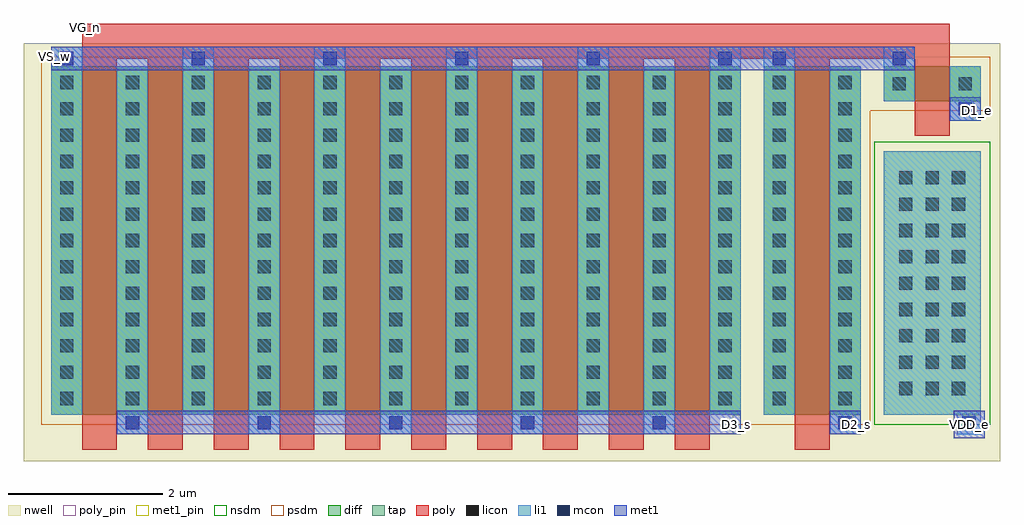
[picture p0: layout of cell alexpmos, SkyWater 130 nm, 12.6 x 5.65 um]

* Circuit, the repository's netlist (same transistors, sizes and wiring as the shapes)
* NGSPICE file created from alexpmos.ext - technology: sky130A

X0 D2 VG VS VDD sky130_fd_pr__pfet_01v8 ad=1.8 pd=9.8 as=1.8 ps=9.8 w=4.5 l=0.45
X1 VS VG D3 VDD sky130_fd_pr__pfet_01v8 ad=1.8 pd=9.8 as=0.9 ps=4.9 w=4.5 l=0.45
X2 VS VG D3 VDD sky130_fd_pr__pfet_01v8 ad=0.9 pd=4.9 as=0.9 ps=4.9 w=4.5 l=0.45
X3 VS VG D3 VDD sky130_fd_pr__pfet_01v8 ad=0.9 pd=4.9 as=0.9 ps=4.9 w=4.5 l=0.45
X4 VS VG D3 VDD sky130_fd_pr__pfet_01v8 ad=0.9 pd=4.9 as=0.9 ps=4.9 w=4.5 l=0.45
X5 VS VG D3 VDD sky130_fd_pr__pfet_01v8 ad=0.9 pd=4.9 as=0.9 ps=4.9 w=4.5 l=0.45
X6 D3 VG VS VDD sky130_fd_pr__pfet_01v8 ad=0.9 pd=4.9 as=0.9 ps=4.9 w=4.5 l=0.45
X7 D3 VG VS VDD sky130_fd_pr__pfet_01v8 ad=0.9 pd=4.9 as=1.8 ps=9.8 w=4.5 l=0.45
X8 D3 VG VS VDD sky130_fd_pr__pfet_01v8 ad=0.9 pd=4.9 as=0.9 ps=4.9 w=4.5 l=0.45
X9 D3 VG VS VDD sky130_fd_pr__pfet_01v8 ad=0.9 pd=4.9 as=0.9 ps=4.9 w=4.5 l=0.45
X10 D3 VG VS VDD sky130_fd_pr__pfet_01v8 ad=0.9 pd=4.9 as=0.9 ps=4.9 w=4.5 l=0.45
X11 D1 VG VS VDD sky130_fd_pr__pfet_01v8 ad=0.18 pd=1.7 as=0.18 ps=1.7 w=0.45 l=0.45

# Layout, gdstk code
import gdstk
lib = gdstk.Library(unit=1e-6, precision=1e-09)
def R(c, l, rs):  # rectangles x0, y0, x1, y1
    for r in rs: c.add(gdstk.rectangle(r[:2], r[2:], *l))
def A(c, l, x, y, w, h, nx, ny, dx, dy):  # array of equal rectangles
    R(c, l, [(x+i*dx, y+j*dy, x+i*dx+w, y+j*dy+h) for i in range(nx) for j in range(ny)])
nwell = (64, 20)
diff = (65, 20)
tap = (65, 44)
poly_pin = (66, 16)
poly = (66, 20)
licon = (66, 44)
li1 = (67, 20)
mcon = (67, 44)
met1_pin = (68, 16)
met1 = (68, 20)
nsdm = (93, 44)
psdm = (94, 20)

alexpmos = lib.new_cell('alexpmos')
R(alexpmos, nwell, [(-0.75,-4.45,11.85,0.95)])
R(alexpmos, diff, [(-0.4,-3.85,8.5,0.65), (8.8,-3.85,10.05,0.65), (10.35,0.2,11.6,0.65)])
R(alexpmos, tap, [(10.35,-3.85,11.6,-0.45)])
R(alexpmos, poly_pin, [(0,1.1,0.1,1.2)])
A(alexpmos, poly, 0, -4.3, 0.45, 5.05, 10, 1, 0.85, 0)
R(alexpmos, poly, [(9.2,-4.3,9.65,0.75), (10.75,-0.25,11.2,0.75), (0,0.75,11.2,1.2)])
A(alexpmos, licon, -0.285, -3.725, 0.17, 0.17, 11, 13, 0.85, 0.34)
A(alexpmos, licon, 8.915, -3.725, 0.17, 0.17, 1, 13, 0, 0.34)
A(alexpmos, licon, 9.765, -3.725, 0.17, 0.17, 1, 13, 0, 0.34)
A(alexpmos, licon, 10.55, -3.595, 0.17, 0.17, 3, 9, 0.34, 0.34)
R(alexpmos, licon, [(10.465,0.34,10.635,0.51), (11.315,0.34,11.485,0.51)])
A(alexpmos, li1, 0.45, -4.1, 0.4, 4.75, 5, 1, 1.7, 0)
A(alexpmos, li1, -0.4, -3.85, 0.4, 4.75, 6, 1, 1.7, 0)
R(alexpmos, li1, [(9.65,-4.1,10.05,0.65), (11.3,-4.1,11.6,-3.85), (8.8,-3.85,9.2,0.9), (10.35,-3.85,11.6,-0.45), (11.2,-0.05,11.6,0.65), (10.35,0.2,10.75,0.9)])
A(alexpmos, mcon, 0.565, -4.035, 0.17, 0.17, 5, 1, 1.7, 0)
A(alexpmos, mcon, -0.285, 0.665, 0.17, 0.17, 6, 1, 1.7, 0)
R(alexpmos, mcon, [(9.765,-4.035,9.935,-3.865), (11.365,-4.035,11.535,-3.865), (11.315,0.015,11.485,0.185), (8.915,0.665,9.085,0.835), (10.465,0.665,10.635,0.835)])
R(alexpmos, met1_pin, [(8.4,-4.1,8.5,-3.85), (9.95,-4.1,10.05,-3.85), (11.3,-4.1,11.6,-3.85), (11.5,-0.05,11.6,0.2), (-0.4,0.65,-0.3,0.9)])
R(alexpmos, met1, [(11.25,-4.15,11.65,-3.8), (0.45,-4.1,8.5,-3.8), (9.65,-4.1,10.05,-3.8), (11.2,-0.05,11.6,0.25), (-0.4,0.6,10.75,0.9)])
R(alexpmos, nsdm, [(10.225,-3.975,11.725,-0.325)])
R(alexpmos, psdm, [(-0.525,-3.975,10.175,0.075), (-0.525,0.075,11.725,0.775)])
alexpmos.add(gdstk.Label('VG_n', (0.05,1.15), layer=66, texttype=5))
alexpmos.add(gdstk.Label('VS_w', (-0.35,0.775), layer=68, texttype=5))
alexpmos.add(gdstk.Label('VDD_e', (11.45,-3.975), layer=68, texttype=5))
alexpmos.add(gdstk.Label('D1_e', (11.55,0.075), layer=68, texttype=5))
alexpmos.add(gdstk.Label('D2_s', (10,-3.975), layer=68, texttype=5))
alexpmos.add(gdstk.Label('D3_s', (8.45,-3.975), layer=68, texttype=5))

lib.write_gds('alexpmos.gds')
